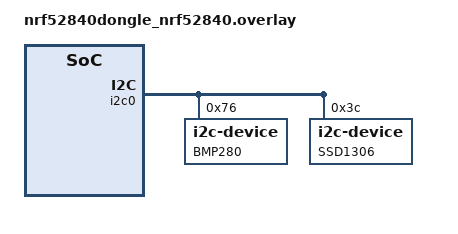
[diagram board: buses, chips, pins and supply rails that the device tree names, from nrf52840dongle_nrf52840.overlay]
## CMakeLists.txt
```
# SPDX-License-Identifier: Apache-2.0

cmake_minimum_required(VERSION 3.20.0)

find_package(Zephyr REQUIRED HINTS $ENV{ZEPHYR_BASE})
project(HomeTempSensor)

target_sources(app PRIVATE src/main.c)
target_sources(app PRIVATE src/led/led.c)
target_sources(app PRIVATE src/i2c/bmp280/bmp280.c)
target_sources(app PRIVATE src/i2c/ssd1306/ssd1306.c)
```

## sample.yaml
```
sample:
  name: Home Temp Sensor
```

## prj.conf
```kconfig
CONFIG_GPIO=y
CONFIG_I2C=y

CONFIG_LOG=y
CONFIG_CONSOLE=y
CONFIG_UART_CONSOLE=y
CONFIG_SERIAL=y
```

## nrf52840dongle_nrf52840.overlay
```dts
// To get started, press Ctrl+Space to bring up the completion menu and view the available nodes.

// You can also use the buttons in the sidebar to perform actions on nodes.
// Actions currently available include:

// * Enabling / disabling the node
// * Adding the bus to a bus
// * Removing the node
// * Connecting ADC channels

// For more help, browse the DeviceTree documentation at https://docs.zephyrproject.org/latest/guides/dts/index.html
// You can also visit the nRF DeviceTree extension documentation at https://nrfconnect.github.io/vscode-nrf-connect/devicetree/nrfdevicetree.html

&i2c0 {  
    bmp280: bmp280@76{
        compatible = "i2c-device";
        reg = < 0x76 >;
        label = "BMP280";
    };

    ssd1306: ssd1306@3C{
        compatible = "i2c-device";
        reg = < 0x3C >;
        label = "SSD1306";
    };
    
};
```

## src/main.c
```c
#include "GlobalSettings.h"

#define LED_RED_NODE	DT_ALIAS(led1_red)
#define LED_GREEN_NODE	DT_ALIAS(led1_green)

LOG_MODULE_REGISTER(main);

static const struct gpio_dt_spec ledRed = GPIO_DT_SPEC_GET(LED_RED_NODE, gpios);
static const struct gpio_dt_spec ledGreen = GPIO_DT_SPEC_GET(LED_GREEN_NODE, gpios);

int LedInit(const struct gpio_dt_spec*, gpio_flags_t);

Global_Info_t globalInfo_s = {
								.bmp280  = I2C_DT_SPEC_GET(BMP280_NODE),
								.ssd1306 = I2C_DT_SPEC_GET(SSD1306_NODE),
}; 

void main(void)
{	
	//LedInit(&ledRed,GPIO_OUTPUT_ACTIVE);
	LedInit(&ledGreen,GPIO_OUTPUT_ACTIVE);

	//gpio_pin_set_dt(&ledRed, 0);
	gpio_pin_set_dt(&ledGreen, 1);

	//BMP280_Init();
	SSD1306_Init();

	    Global_Info_t* p_globalInfo = &globalInfo_s;
				uint8_t pos[] = {
						SSD1306_COMMAND_BYTE,0x00, 
						SSD1306_COMMAND_BYTE,0x10, 
						SSD1306_COMMAND_BYTE,0xB0
					};

	while(1)
		{		
			//k_msleep(1000);	
			//BMP280_ReadTemp();	

							k_msleep(1500);



						for(uint8_t i = 0; i < 3; i++) 
							{
								i2c_write_dt(&(p_globalInfo->ssd1306), pos+(i*2), 2);
							}	
				
				uint8_t bt_logo2[] = {0x40,0x00,0x00,0x00,0x00,0x00,0x00,0x00,0x00};

				i2c_write_dt(&(p_globalInfo->ssd1306), bt_logo2, 9);

				oled_print("Hello World");

				k_msleep(1500);

				
						for(uint8_t i = 0; i < 3; i++) 
							{
								i2c_write_dt(&(p_globalInfo->ssd1306), pos+(i*2), 2);
							}	

				uint8_t bt_logo[] = {0x40,0x00,0x28,0x10,0xFE,0x54,0x28,0x00,0x00};

				i2c_write_dt(&(p_globalInfo->ssd1306), bt_logo, 9);

				oled_print("Hello World");
		}
}

/*#define STACKSIZE 1024

#define THREAD0_PRIORITY 7
#define THREAD1_PRIORITY 7

void thread0(void)
{
	while (1) {
		  LOG_INF("Hello, I am 000\n");
          //k_yield();
		  k_msleep(1000);
	}
}

void thread1(void)
{
	while (1) {
          LOG_INF("Hello, I am 111\n");		  
		  //k_yield();		  
		  k_msleep(1000);
	}
}

K_THREAD_DEFINE(thread0_id, STACKSIZE, thread0, NULL, NULL, NULL, THREAD0_PRIORITY, 0, 0);
K_THREAD_DEFINE(thread1_id, STACKSIZE, thread1, NULL, NULL, NULL, THREAD1_PRIORITY, 0, 0);
*/
```

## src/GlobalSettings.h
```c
#ifndef GLOBALSETTINGS_H
#define GLOBALSETTINGS_H

#include <zephyr/kernel.h>
#include <zephyr/logging/log.h>

#include "led/led.h"
#include "i2c/bmp280/bmp280.h"
#include "i2c/ssd1306/ssd1306.h"

enum error_code{
    DEVICE_ALL_OK = 0,
    DEVICE_NOT_READY = -1,
    DEVICE_ID_INCORRECR = -2,
};

typedef struct {
    struct i2c_dt_spec bmp280;
    struct i2c_dt_spec ssd1306;
}Global_Info_t;

extern Global_Info_t globalInfo_s;

#endif
```
